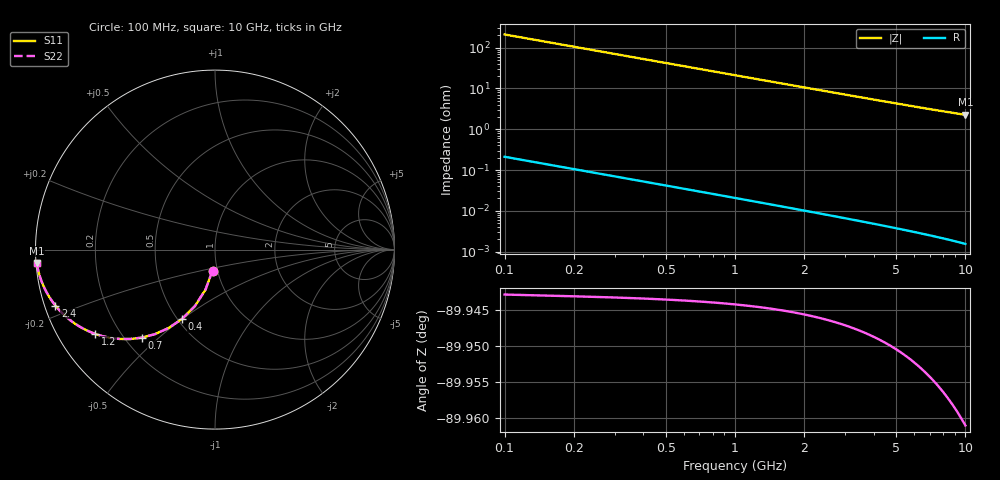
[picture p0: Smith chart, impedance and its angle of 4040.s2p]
# Hz S RI R 50.00
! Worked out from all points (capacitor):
!   100 points, 100 MHz to 10 GHz, reference 50 ohm
!   read as one part in shunt: C = 7.52 pF near 100 MHz
!   lowest |Z| = 2.26 ohm at 10 GHz (marker M1)
!   S11 on the Smith chart (normalised r, x): 100 MHz: 0.95, -0.22; 400 MHz: 0.53, -0.50; 700 MHz: 0.27, -0.44; 1.2 GHz: 0.11, -0.31; 2.4 GHz: 0.03, -0.17; 10 GHz: 0.00, -0.04
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1e8  -0.0139 -0.1165  0.9861 -0.1166  0.9861 -0.1166  -0.0139 -0.1165
2e8  -0.0531 -0.2236  0.9469 -0.2239  0.9469 -0.2239  -0.0531 -0.2236
3e8  -0.1119 -0.3146  0.888 -0.315  0.888 -0.315  -0.1119 -0.3146
4e8  -0.1829 -0.3858  0.8171 -0.3864  0.8171 -0.3864  -0.1829 -0.3858
5e8  -0.259 -0.4372  0.7409 -0.438  0.7409 -0.438  -0.259 -0.4372
6e8  -0.3347 -0.471  0.6652 -0.4718  0.6652 -0.4718  -0.3347 -0.471
7e8  -0.4064 -0.4902  0.5936 -0.4912  0.5936 -0.4912  -0.4064 -0.4902
9e8  -0.5307 -0.4979  0.4692 -0.4992  0.4692 -0.4992  -0.5307 -0.4979
1e9  -0.5826 -0.4919  0.4173 -0.4933  0.4173 -0.4933  -0.5826 -0.4919
1.2e9  -0.6677 -0.4697  0.3323 -0.4714  0.3323 -0.4714  -0.6677 -0.4697
1.3e9  -0.7022 -0.4559  0.2978 -0.4577  0.2978 -0.4577  -0.7022 -0.4559
1.5e9  -0.7583 -0.4265  0.2416 -0.4286  0.2416 -0.4286  -0.7583 -0.4265
1.8e9  -0.8187 -0.3835  0.1812 -0.386  0.1812 -0.386  -0.8187 -0.3835
2.1e9  -0.86 -0.3449  0.1399 -0.3479  0.1399 -0.3479  -0.86 -0.3449
2.4e9  -0.8892 -0.3117  0.1108 -0.3151  0.1108 -0.3151  -0.8892 -0.3117
2.9e9  -0.9213 -0.2666  0.0786 -0.2707  0.0786 -0.2707  -0.9213 -0.2666
3.4e9  -0.9415 -0.2317  0.0584 -0.2365  0.0584 -0.2365  -0.9415 -0.2317
4.2e9  -0.9609 -0.1903  0.039 -0.1963  0.039 -0.1963  -0.9609 -0.1903
5.1e9  -0.9732 -0.1573  0.0268 -0.1646  0.0268 -0.1646  -0.9732 -0.1573
6.7e9  -0.9843 -0.1186  0.0156 -0.1283  0.0156 -0.1283  -0.9843 -0.1186
8.4e9  -0.99 -0.0923  0.00983 -0.1046  0.00983 -0.1046  -0.99 -0.0923
1e10  -0.993 -0.0749  0.00683 -0.0898  0.00683 -0.0898  -0.993 -0.0749
